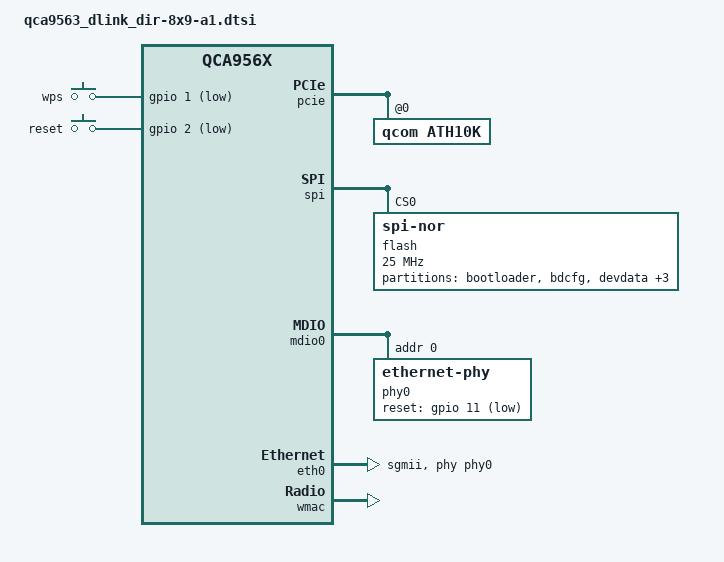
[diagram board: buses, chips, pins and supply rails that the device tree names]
// SPDX-License-Identifier: GPL-2.0-or-later OR MIT

#include "qca956x.dtsi"

#include <dt-bindings/gpio/gpio.h>
#include <dt-bindings/input/input.h>

/ {
	keys {
		compatible = "gpio-keys";

		wps {
			label = "wps";
			linux,code = <KEY_WPS_BUTTON>;
			gpios = <&gpio 1 GPIO_ACTIVE_LOW>;
			debounce-interval = <60>;
		};

		reset {
			label = "reset";
			linux,code = <KEY_RESTART>;
			gpios = <&gpio 2 GPIO_ACTIVE_LOW>;
			debounce-interval = <60>;
		};
	};
};

&pcie {
	status = "okay";

	ath10k: wifi@0,0 {
		compatible = "qcom,ath10k";
		reg = <0x0000 0 0 0 0>;

		nvmem-cells = <&calibration_ath10k>, <&macaddr_devdata_94 0>;
		nvmem-cell-names = "calibration", "mac-address";
	};
};

&spi {
	status = "okay";

	flash@0 {
		compatible = "jedec,spi-nor";
		reg = <0>;
		spi-max-frequency = <25000000>;

		partitions {
			compatible = "fixed-partitions";
			#address-cells = <1>;
			#size-cells = <1>;

			partition@0 {
				label = "bootloader";
				reg = <0x000000 0x040000>;
				read-only;
			};

			bdcfg: partition@40000 {
				compatible = "u-boot,env";
				label = "bdcfg";
				reg = <0x040000 0x010000>;
			};

			partition@50000 {
				label = "devdata";
				reg = <0x050000 0x010000>;
				read-only;

				compatible = "nvmem-cells";

				nvmem-layout {
					compatible = "fixed-layout";
					#address-cells = <1>;
					#size-cells = <1>;

					macaddr_devdata_94: macaddr@94 {
						compatible = "mac-base";
						reg = <0x94 0x11>;
						#nvmem-cell-cells = <1>;
					};

					macaddr_devdata_b0: macaddr@b0 {
						compatible = "mac-base";
						reg = <0xb0 0x11>;
						#nvmem-cell-cells = <1>;
					};
				};

			};

			partition@60000 {
				label = "devconf";
				reg = <0x060000 0x010000>;
				read-only;
			};

			partition@70000 {
				compatible = "seama";
				label = "firmware";
				reg = <0x070000 0xf80000>;
			};

			partition@ff0000 {
				label = "art";
				reg = <0xff0000 0x010000>;
				read-only;

				compatible = "nvmem-cells";
				#address-cells = <1>;
				#size-cells = <1>;

				calibration_ath9k: calibration@1000 {
					reg = <0x1000 0x440>;
				};

				calibration_ath10k: calibration@5000 {
					reg = <0x5000 0x844>;
				};	
			};
		};
	};
};

&mdio0 {
	status = "okay";

	phy0: ethernet-phy@0 {
		reg = <0>;
		phy-mode = "sgmii";
		qca,mib-poll-interval = <500>;

		reset-gpios = <&gpio 11 GPIO_ACTIVE_LOW>;

		qca,ar8327-initvals = <
			0x04 0x00080080 /* PORT0 PAD MODE CTRL */
			0x10 0x81000080 /* POWER_ON_STRAP */
			0x50 0xcc35cc35 /* LED_CTRL0 */
			0x54 0xcb37cb37 /* LED_CTRL1 */
			0x58 0x00000000 /* LED_CTRL2 */
			0x5c 0x00f3cf00 /* LED_CTRL3 */
			0x7c 0x0000007e /* PORT0_STATUS */
			>;
	};
};

&eth0 {
	status = "okay";

	pll-data = <0x03000101 0x00000101 0x00001919>;

	phy-mode = "sgmii";
	phy-handle = <&phy0>;
};

&wmac {
	status = "okay";

	nvmem-cells = <&calibration_ath9k>, <&macaddr_devdata_b0 0>;
	nvmem-cell-names = "calibration", "mac-address";
};
